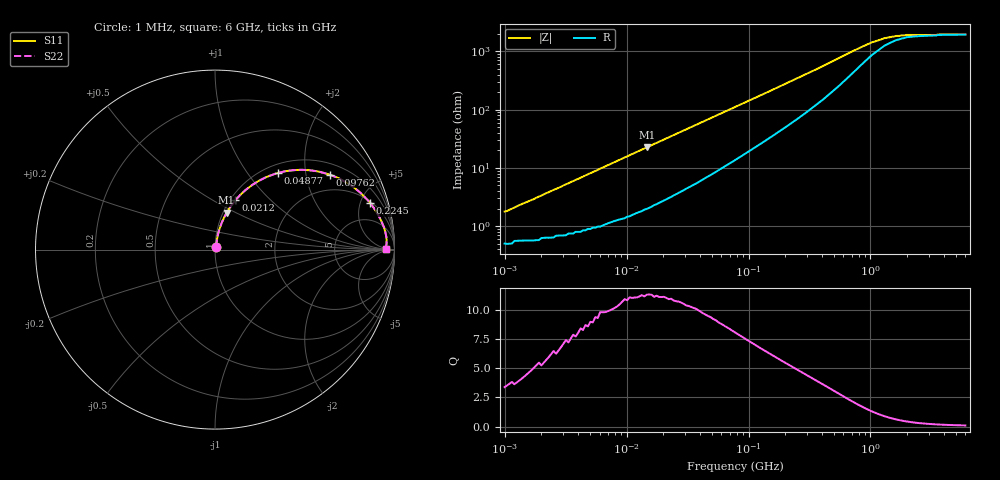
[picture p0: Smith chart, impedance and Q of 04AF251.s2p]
# MHz S MA R 50
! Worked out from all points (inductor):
!   189 points, 1 MHz to 6 GHz, reference 50 ohm
!   read as one part in series: L = 269 nH near 1 MHz
!   highest Q = 11.3 at 14.64 MHz (marker M1), where L = 243 nH
!   S11 on the Smith chart (normalised r, x): 1 MHz: 1.01, +0.03; 21.2 MHz: 1.06, +0.64; 48.77 MHz: 1.15, +1.42; 97.62 MHz: 1.37, +2.74; 224.5 MHz: 2.18, +6.05; 6 GHz: 40, +4
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1  0.018 72.2  0.995 -1.0  0.995 -1.0  0.018 72.2
1.047  0.018 72.7  0.995 -1.0  0.995 -1.0  0.018 72.7
1.32  0.023 74.9  0.994 -1.3  0.994 -1.3  0.023 74.9
1.742  0.029 76.9  0.994 -1.7  0.994 -1.7  0.029 76.9
2.196  0.037 78.1  0.993 -2.1  0.993 -2.1  0.037 78.1
4.396  0.07 79.2  0.989 -4.0  0.989 -4.0  0.07 79.2
8.403  0.129 77.1  0.979 -7.4  0.979 -7.4  0.129 77.1
14.642  0.215 72.5  0.958 -12.4  0.958 -12.4  0.215 72.5
18.454  0.264 69.6  0.941 -15.3  0.941 -15.3  0.264 69.6
21.202  0.298 67.6  0.928 -17.2  0.928 -17.2  0.298 67.6
30.7  0.401 61.0  0.878 -23.6  0.878 -23.6  0.401 61.0
48.765  0.553 50.6  0.777 -33.3  0.777 -33.3  0.553 50.6
77.46  0.7 38.9  0.633 -44.0  0.633 -44.0  0.7 38.9
97.624  0.763 33.2  0.552 -49.1  0.552 -49.1  0.763 33.2
148.056  0.849 24.0  0.412 -56.9  0.412 -56.9  0.849 24.0
224.541  0.902 16.7  0.292 -62.4  0.292 -62.4  0.902 16.7
340.538  0.933 11.2  0.2 -65.0  0.2 -65.0  0.933 11.2
859.204  0.957 3.9  0.079 -55.5  0.079 -55.5  0.957 3.9
1033.909  0.958 3.1  0.067 -49.3  0.067 -49.3  0.958 3.1
1429.415  0.956 1.9  0.055 -35.7  0.055 -35.7  0.956 1.9
1976.214  0.954 1.2  0.05 -22.9  0.05 -22.9  0.954 1.2
6000  0.952 0.3  0.049 -5.8  0.049 -5.8  0.952 0.3
